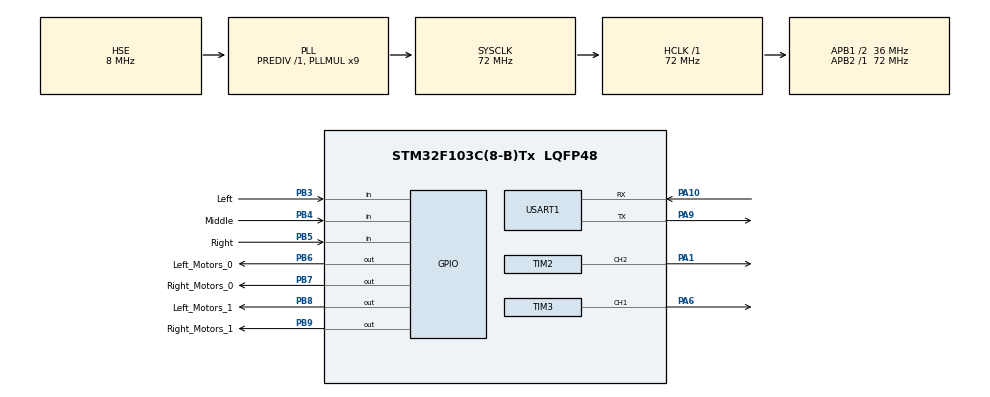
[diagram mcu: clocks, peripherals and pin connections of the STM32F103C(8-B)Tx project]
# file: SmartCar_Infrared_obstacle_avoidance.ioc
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Mcu.Family=STM32F1
Mcu.Name=STM32F103C(8-B)Tx
Mcu.Package=LQFP48
NVIC.PriorityGroup=NVIC_PRIORITYGROUP_4
NVIC.TIM2_IRQn=true\:0\:0\:false\:false\:true\:true\:true
NVIC.TIM3_IRQn=true\:0\:0\:false\:false\:true\:true\:true
PA1.Signal=S_TIM2_CH2
PA10.Mode=Asynchronous
PA10.Signal=USART1_RX
PA13.Mode=Serial_Wire
PA13.Signal=SYS_JTMS-SWDIO
PA14.Mode=Serial_Wire
PA14.Signal=SYS_JTCK-SWCLK
PA6.Signal=S_TIM3_CH1
PA9.Mode=Asynchronous
PA9.Signal=USART1_TX
PB3.GPIO_Label=Left
PB3.Signal=GPIO_Input
PB4.GPIO_Label=Middle
PB4.Signal=GPIO_Input
PB5.GPIO_Label=Right
PB5.GPIO_PuPd=GPIO_NOPULL
PB5.Signal=GPIO_Input
PB6.GPIO_Label=Left_Motors_0
PB6.GPIO_Speed=GPIO_SPEED_FREQ_HIGH
PB6.Signal=GPIO_Output
PB7.GPIO_Label=Right_Motors_0
PB7.GPIO_Speed=GPIO_SPEED_FREQ_HIGH
PB7.Signal=GPIO_Output
PB8.GPIO_Label=Left_Motors_1
PB8.Signal=GPIO_Output
PB9.GPIO_Label=Right_Motors_1
PB9.Signal=GPIO_Output
PD0-OSC_IN.Mode=HSE-External-Oscillator
PD0-OSC_IN.Signal=RCC_OSC_IN
PD1-OSC_OUT.Mode=HSE-External-Oscillator
PD1-OSC_OUT.Signal=RCC_OSC_OUT
ProjectManager.HeapSize=0x200
ProjectManager.StackSize=0x400
ProjectManager.TargetToolchain=MDK-ARM V5.27
RCC.AHBFreq_Value=72000000
RCC.APB1CLKDivider=RCC_HCLK_DIV2
RCC.APB1Freq_Value=36000000
RCC.APB1TimFreq_Value=72000000
RCC.APB2Freq_Value=72000000
RCC.APB2TimFreq_Value=72000000
RCC.HCLKFreq_Value=72000000
RCC.PLLMUL=RCC_PLL_MUL9
RCC.PLLSourceVirtual=RCC_PLLSOURCE_HSE
RCC.SYSCLKFreq_VALUE=72000000
RCC.SYSCLKSource=RCC_SYSCLKSOURCE_PLLCLK
RCC.USBFreq_Value=72000000
SH.S_TIM2_CH2.0=TIM2_CH2,PWM Generation2 CH2
SH.S_TIM3_CH1.0=TIM3_CH1,PWM Generation1 CH1
TIM2.Channel-PWM\ Generation2\ CH2=TIM_CHANNEL_2
TIM2.Period=200
TIM2.Prescaler=7200-1
TIM3.Channel-PWM\ Generation1\ CH1=TIM_CHANNEL_1
TIM3.Period=200
TIM3.Prescaler=7200-1
TIM3.Pulse-PWM\ Generation1\ CH1=100
USART1.VirtualMode=VM_ASYNC
VP_TIM2_VS_ClockSourceINT.Mode=Internal
board=custom

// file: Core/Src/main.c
/* USER CODE BEGIN Header */
/**
  ******************************************************************************
  * @file           : main.c
  * @brief          : Main program body
  ******************************************************************************
  * @attention
  *
  * <h2><center>&copy; Copyright (c) 2021 STMicroelectronics.
  * All rights reserved.</center></h2>
  *
  * This software component is licensed by ST under BSD 3-Clause license,
  * the "License"; You may not use this file except in compliance with the
  * License. You may obtain a copy of the License at:
  *                        opensource.org/licenses/BSD-3-Clause
  *
  ******************************************************************************
  */
/* USER CODE END Header */
#include "main.h"
#include "tim.h"
#include "usart.h"
#include "gpio.h"

/* USER CODE BEGIN Includes */
#include <stdio.h>
/* USER CODE END Includes */

/* USER CODE BEGIN PV */
uint16_t Left;
uint16_t Right;
uint16_t Middle;
/* USER CODE END PV */

void SystemClock_Config(void);

/* USER CODE BEGIN 0 */
int fputc(int ch, FILE *f)
{
  HAL_UART_Transmit(&huart1, (uint8_t *)&ch, 1, 0xffff);
  return ch;
}

/**
  * 函数功能: 重定向c库函数getchar,scanf到DEBUG_USARTx
  * 输入参数: 无
  * 返 回 值: 无
  * 说    明：无
  */
int fgetc(FILE *f)
{
  uint8_t ch = 0;
  HAL_UART_Receive(&huart1, &ch, 1, 0xffff);
  return ch;
}

/**
  * 函数功能: 左转
  * 输入参数: 无
  * 返 回 值: 无
  * 说    明：htim3控制右侧电机
  */
void TurnLeft(void)
{
	HAL_GPIO_TogglePin(Right_Motors_0_GPIO_Port,GPIO_PIN_7);
	HAL_GPIO_TogglePin(Right_Motors_1_GPIO_Port,GPIO_PIN_9);
	__HAL_TIM_SET_COMPARE(&htim2,TIM_CHANNEL_2,150);
	__HAL_TIM_SET_COMPARE(&htim3,TIM_CHANNEL_1,40);

}

/**
  * 函数功能: 右转
  * 输入参数: 无
  * 返 回 值: 无
  * 说    明：htim3控制右侧电机
  */
void TurnRight(void)
{	HAL_GPIO_TogglePin(Right_Motors_0_GPIO_Port,GPIO_PIN_6);
	HAL_GPIO_TogglePin(Right_Motors_1_GPIO_Port,GPIO_PIN_8);
	__HAL_TIM_SET_COMPARE(&htim2,TIM_CHANNEL_2,40);
	__HAL_TIM_SET_COMPARE(&htim3,TIM_CHANNEL_1,150);

}

/**
  * 函数功能: 掉头
  * 输入参数: 无
  * 返 回 值: 无
  * 说    明：Delay 用来确定掉头正确进行
  */
void TurnBack(void)
{
	HAL_GPIO_TogglePin(Left_Motors_0_GPIO_Port,GPIO_PIN_6);
	HAL_GPIO_TogglePin(Left_Motors_1_GPIO_Port,GPIO_PIN_8);
	__HAL_TIM_SET_COMPARE(&htim2,TIM_CHANNEL_2,80);
	__HAL_TIM_SET_COMPARE(&htim3,TIM_CHANNEL_1,80);
	HAL_Delay(1000);
}

/**
  * 函数功能: 直行
  * 输入参数: 无
  * 返 回 值: 无
  * 说    明：无
  */
void Gohead(void)
{
	HAL_GPIO_WritePin(Left_Motors_0_GPIO_Port,GPIO_PIN_6,0);
	HAL_GPIO_WritePin(Left_Motors_1_GPIO_Port,GPIO_PIN_8,1);

	HAL_GPIO_WritePin(Right_Motors_0_GPIO_Port,GPIO_PIN_7,0);
	HAL_GPIO_WritePin(Right_Motors_1_GPIO_Port,GPIO_PIN_9,1);
	__HAL_TIM_SET_COMPARE(&htim2,TIM_CHANNEL_2,80);
	__HAL_TIM_SET_COMPARE(&htim3,TIM_CHANNEL_1,80);
}
void Car_Init(void)
{
	HAL_GPIO_WritePin(Left_Motors_0_GPIO_Port,GPIO_PIN_6,0);
	HAL_GPIO_WritePin(Left_Motors_1_GPIO_Port,GPIO_PIN_8,1);

	HAL_GPIO_WritePin(Right_Motors_0_GPIO_Port,GPIO_PIN_7,0);
	HAL_GPIO_WritePin(Right_Motors_1_GPIO_Port,GPIO_PIN_9,1);
}
/* USER CODE END 0 */

int main(void)
{

  /* MCU Configuration--------------------------------------------------------*/

  /* Reset of all peripherals, Initializes the Flash interface and the Systick. */
  HAL_Init();

  /* Configure the system clock */
  SystemClock_Config();

  /* Initialize all configured peripherals */
  MX_GPIO_Init();
  MX_TIM2_Init();
  MX_TIM3_Init();
  MX_USART1_UART_Init();
  /* USER CODE BEGIN 2 */
	HAL_TIM_PWM_Start(&htim2,TIM_CHANNEL_2);
	HAL_TIM_PWM_Start(&htim3,TIM_CHANNEL_1);
	Car_Init();
  /* USER CODE END 2 */

  /* Infinite loop */
  /* USER CODE BEGIN WHILE */
  Left=1,Middle=1,Right=1;
  while (1)
  {
	Left=HAL_GPIO_ReadPin(Left_GPIO_Port,Left_Pin);
	Middle=HAL_GPIO_ReadPin(Middle_GPIO_Port,Middle_Pin);
	Right=HAL_GPIO_ReadPin(Right_GPIO_Port,Right_Pin);

	Gohead();
	printf("直行");
    /* USER CODE END WHILE */

    /* USER CODE BEGIN 3 */

	if(Left==1&&Middle==1&&Right==0)
	{
		TurnLeft();
		HAL_Delay(500);
		printf("左转");
	}
	else if(Left==0&&Middle==1&&Right==1)
	{
		TurnRight();
		HAL_Delay(500);
		printf("右转");
	}
	else if(Middle==0)
	{
		TurnBack();
		printf("掉头");
	}

  }
  /* USER CODE END 3 */
}

void SystemClock_Config(void)
{
  RCC_OscInitTypeDef RCC_OscInitStruct = {0};
  RCC_ClkInitTypeDef RCC_ClkInitStruct = {0};

  /** Initializes the RCC Oscillators according to the specified parameters
  * in the RCC_OscInitTypeDef structure.
  */
  RCC_OscInitStruct.OscillatorType = RCC_OSCILLATORTYPE_HSE;
  RCC_OscInitStruct.HSEState = RCC_HSE_ON;
  RCC_OscInitStruct.HSEPredivValue = RCC_HSE_PREDIV_DIV1;
  RCC_OscInitStruct.HSIState = RCC_HSI_ON;
  RCC_OscInitStruct.PLL.PLLState = RCC_PLL_ON;
  RCC_OscInitStruct.PLL.PLLSource = RCC_PLLSOURCE_HSE;
  RCC_OscInitStruct.PLL.PLLMUL = RCC_PLL_MUL9;
  if (HAL_RCC_OscConfig(&RCC_OscInitStruct) != HAL_OK)
  {
    Error_Handler();
  }
  /** Initializes the CPU, AHB and APB buses clocks
  */
  RCC_ClkInitStruct.ClockType = RCC_CLOCKTYPE_HCLK|RCC_CLOCKTYPE_SYSCLK
                              |RCC_CLOCKTYPE_PCLK1|RCC_CLOCKTYPE_PCLK2;
  RCC_ClkInitStruct.SYSCLKSource = RCC_SYSCLKSOURCE_PLLCLK;
  RCC_ClkInitStruct.AHBCLKDivider = RCC_SYSCLK_DIV1;
  RCC_ClkInitStruct.APB1CLKDivider = RCC_HCLK_DIV2;
  RCC_ClkInitStruct.APB2CLKDivider = RCC_HCLK_DIV1;

  if (HAL_RCC_ClockConfig(&RCC_ClkInitStruct, FLASH_LATENCY_2) != HAL_OK)
  {
    Error_Handler();
  }
}

void Error_Handler(void)
{
}

/************************ (C) COPYRIGHT STMicroelectronics *****END OF FILE****/
